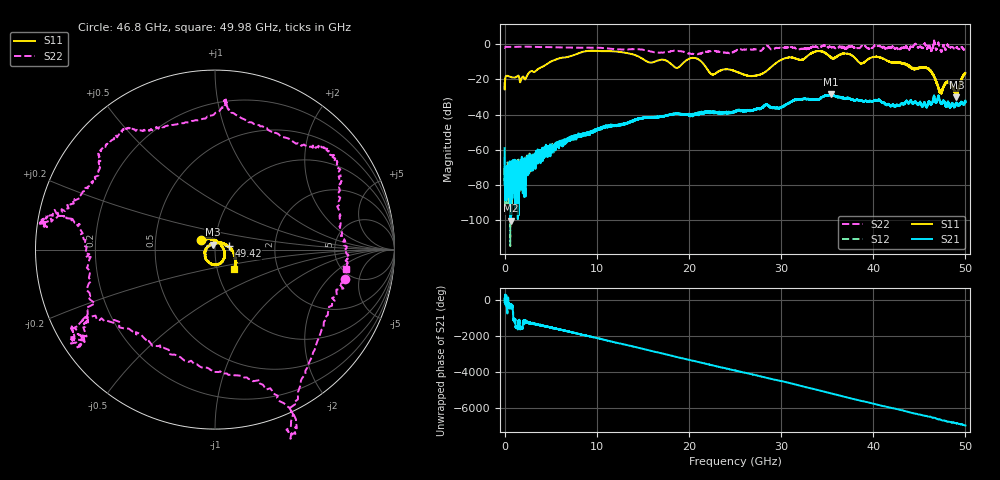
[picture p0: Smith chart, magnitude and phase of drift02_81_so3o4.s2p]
!Created with skrf (http://scikit-rf.org).
# Hz S RI R 50.0
!freq ReS11 ImS11 ReS21 ImS21 ReS12 ImS12 ReS22 ImS22
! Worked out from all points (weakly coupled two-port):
!   10001 points, 300 kHz to 50 GHz, reference 50 ohm
!   highest |S21| = -28.53 dB at 35.38 GHz (marker M1); lowest = -100.4 dB at 640.3 MHz (marker M2)
!   lowest |S11| = -30.2 dB at 49.02 GHz (marker M3), VSWR 1.06, Z = 48.7 + j2.76 ohm
!   |S11| at or under -10 dB: start of sweep to 4.955 GHz; 21.38 GHz to 29.62 GHz (8.238 GHz wide, 32.3 % of centre); 41.87 GHz to end of sweep (the widest 3 of 14)
!   |S22| runs from -5.7 to 2.2 dB; largest |S21 - S12| = 0.0033
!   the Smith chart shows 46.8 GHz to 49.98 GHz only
!   S11 on the Smith chart (normalised r, x): 46.8 GHz: 0.85, +0.09; 49.42 GHz: 1.16, +0.04; 49.98 GHz: 1.21, -0.26
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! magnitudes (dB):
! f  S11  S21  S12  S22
! 300 kHz  -22.1  -59.1  -64.4  -2.1
! 255.3 MHz  -17.9  -84.2  -78.0  -1.4
! 640.3 MHz  -18.5  -100.4  -77.0  -1.5
! 1.875 GHz  -19.0  -71.4  -71.1  -1.3
! 8.335 GHz  -4.5  -51.5  -51.5  -1.9
! 16.67 GHz  -9.1  -41.2  -41.2  -4.7
! 18.7 GHz  -13.4  -39.6  -39.5  -3.7
! 20.6 GHz  -7.7  -39.7  -39.8  -5.7
! 22.51 GHz  -17.1  -38.5  -38.8  -3.7
! 25 GHz  -15.3  -38.1  -38.7  -3.9
! 27.5 GHz  -17.5  -36.8  -36.7  -3.2
! 33.34 GHz  -4.8  -31.4  -31.2  -1.6
! 35.38 GHz  -7.3  -28.5  -28.6  -1.4
! 41.67 GHz  -9.6  -34.1  -34.2  -1.9
! 45.78 GHz  -13.5  -35.9  -35.3  -2.0
! 46.8 GHz  -20.7  -32.9  -33.1  -2.6
! 47.28 GHz  -26.9  -32.9  -32.8  -3.2
! 48.11 GHz  -21.5  -33.2  -33.2  -0.6
! 49.02 GHz  -30.2  -34.0  -34.0  -2.0
! 49.42 GHz  -22.1  -34.1  -33.8  -2.2
! 49.98 GHz  -16.4  -32.6  -32.6  -2.7
! 50 GHz  -16.3  -32.9  -32.4  -2.6
